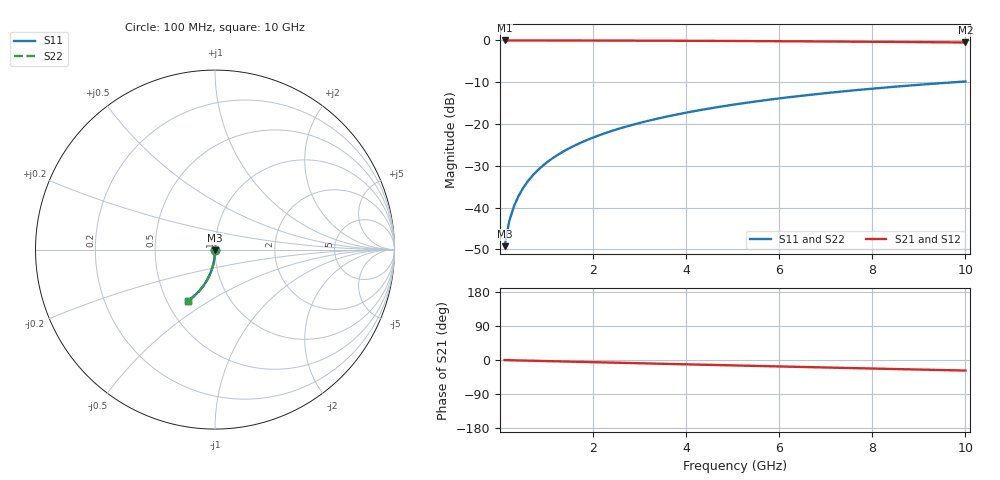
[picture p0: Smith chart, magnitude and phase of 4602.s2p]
# Hz S RI R 50.00
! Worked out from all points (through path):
!   100 points, 100 MHz to 10 GHz, reference 50 ohm
!   highest |S21| = 0.00 dB at 100 MHz (marker M1); lowest = -0.5 dB at 10 GHz (marker M2)
!   group delay of S21, straight-line fit = 7.76 ps
!   lowest |S11| = -49.2 dB at 100 MHz (marker M3), VSWR 1.01, Z = 50 - j0.345 ohm
!   |S11| at or under -10 dB: start of sweep to 9.761 GHz
!   |S22| runs from -49.2 to -9.8 dB; largest |S21 - S12| = 0
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1e8  0.000191 -0.00345  0.9998 -0.00498  0.9998 -0.00498  0.000191 -0.00345
2e8  0.000136 -0.00689  0.9997 -0.00996  0.9997 -0.00996  0.000136 -0.00689
3e8  4.77e-05 -0.0103  0.9996 -0.0149  0.9996 -0.0149  4.77e-05 -0.0103
4e8  -7.56e-05 -0.0138  0.9995 -0.0199  0.9995 -0.0199  -7.56e-05 -0.0138
5e8  -0.000233 -0.0172  0.9993 -0.0249  0.9993 -0.0249  -0.000233 -0.0172
6e8  -0.000425 -0.0207  0.9991 -0.0299  0.9991 -0.0299  -0.000425 -0.0207
7e8  -0.000652 -0.0241  0.9989 -0.0348  0.9989 -0.0348  -0.000652 -0.0241
8e8  -0.000912 -0.0275  0.9986 -0.0398  0.9986 -0.0398  -0.000912 -0.0275
9e8  -0.00121 -0.031  0.9983 -0.0448  0.9983 -0.0448  -0.00121 -0.031
1.1e9  -0.0019 -0.0378  0.9975 -0.0547  0.9975 -0.0547  -0.0019 -0.0378
1.4e9  -0.00319 -0.0481  0.9961 -0.0696  0.9961 -0.0696  -0.00319 -0.0481
1.8e9  -0.00539 -0.0617  0.9938 -0.0893  0.9938 -0.0893  -0.00539 -0.0617
2.1e9  -0.0074 -0.0718  0.9916 -0.1041  0.9916 -0.1041  -0.0074 -0.0718
2.5e9  -0.0105 -0.0852  0.9883 -0.1236  0.9883 -0.1236  -0.0105 -0.0852
2.9e9  -0.0142 -0.0985  0.9843 -0.1431  0.9843 -0.1431  -0.0142 -0.0985
3.4e9  -0.0195 -0.1148  0.9787 -0.1671  0.9787 -0.1671  -0.0195 -0.1148
4.2e9  -0.0296 -0.1402  0.9678 -0.2049  0.9678 -0.2049  -0.0296 -0.1402
5.1e9  -0.0433 -0.1676  0.9531 -0.2463  0.9531 -0.2463  -0.0433 -0.1676
5.9e9  -0.0573 -0.1907  0.9381 -0.2819  0.9381 -0.2819  -0.0573 -0.1907
6.7e9  -0.0729 -0.2124  0.9212 -0.3162  0.9212 -0.3162  -0.0729 -0.2124
8.4e9  -0.1108 -0.2536  0.8801 -0.3842  0.8801 -0.3842  -0.1108 -0.2536
1e10  -0.1509 -0.2855  0.8363 -0.4417  0.8363 -0.4417  -0.1509 -0.2855
